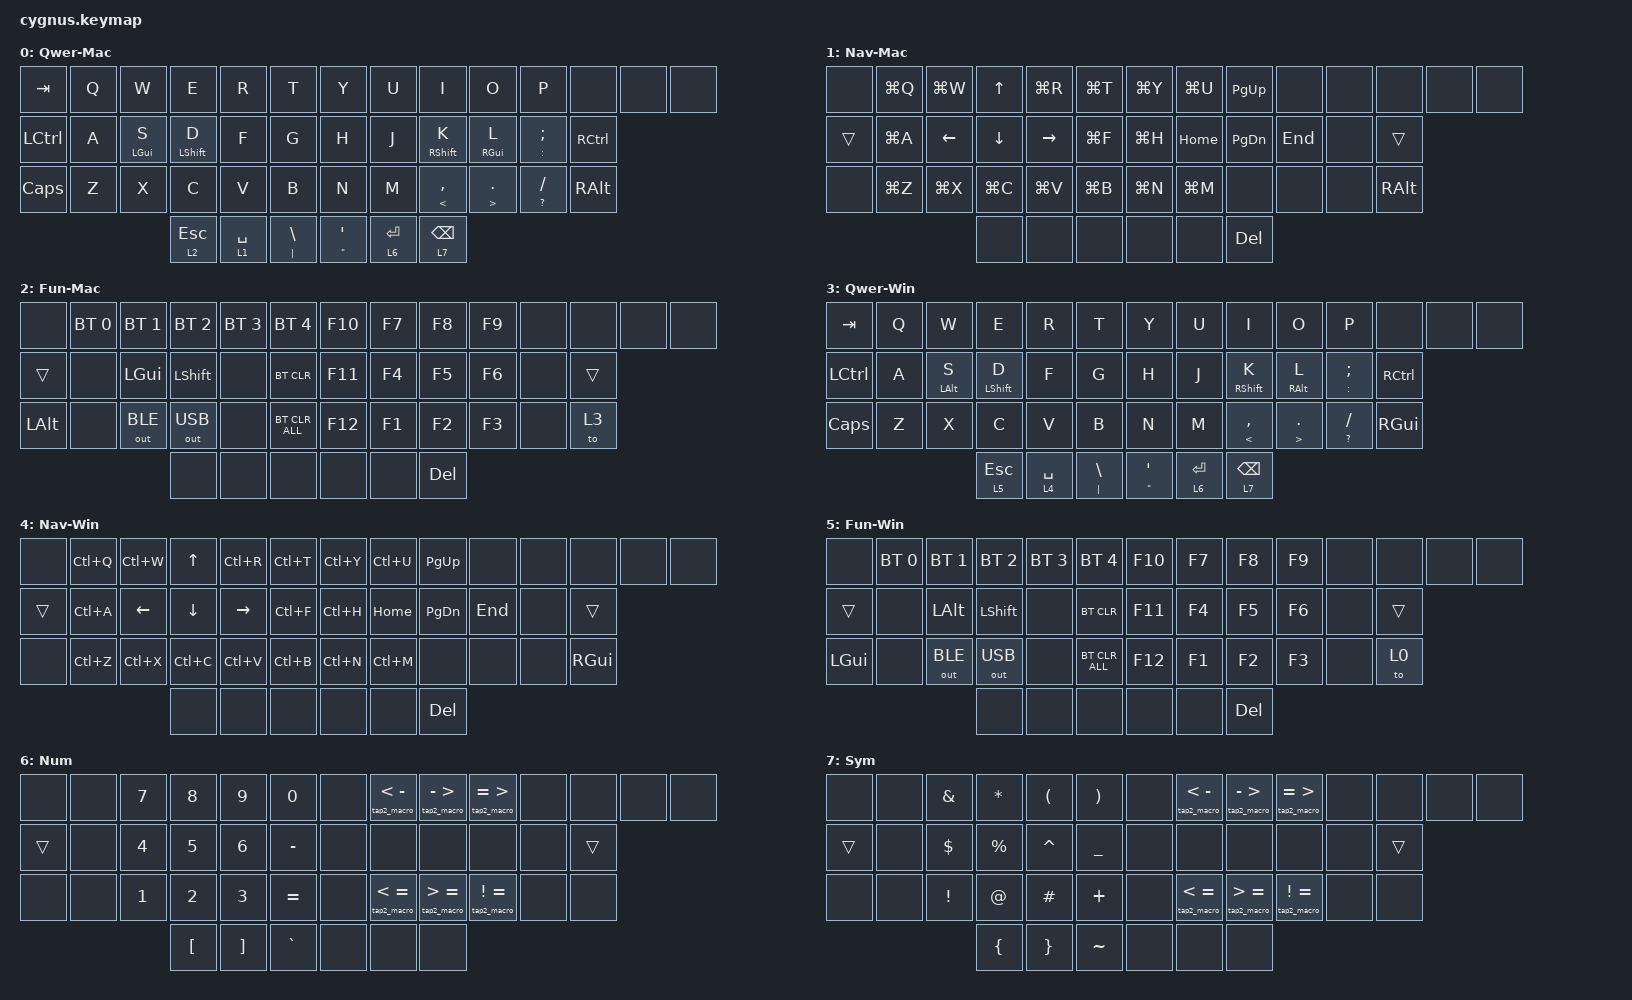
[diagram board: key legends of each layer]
/*
 * Copyright (c) 2020 The ZMK Contributors
 *
 * SPDX-License-Identifier: MIT
 */

#define ZMK_POINTING_DEFAULT_MOVE_VAL 1200  // 600
#define ZMK_POINTING_DEFAULT_SCRL_VAL 35    // 10

#include <input/processors.dtsi>
#include <zephyr/dt-bindings/input/input-event-codes.h>
#include <behaviors.dtsi>
#include <dt-bindings/zmk/bt.h>
#include <dt-bindings/zmk/keys.h>
#include <dt-bindings/zmk/outputs.h>

#define SCROLLER 1
#define MOUSE 4

/ {
    zip_scroll_scaler: zip_scroll_scaler {
        compatible = "zmk,input-processor-scaler";
        #input-processor-cells = <2>;
        type = <INPUT_EV_REL>;
        codes = <INPUT_REL_WHEEL INPUT_REL_HWHEEL>;
        track-remainders;
    };
};

&mmv_input_listener { input-processors = <&zip_xy_scaler 2 1>; };

&msc_input_listener { input-processors = <&zip_scroll_scaler 2 1>; };

&msc {
    acceleration-exponent = <0>;      // 0
    time-to-max-speed-ms = <100>;       // 300
    delay-ms = <0>;                   // 0
};

&mmv {
    time-to-max-speed-ms = <400>;
    acceleration-exponent = <1>;
};

/ {
    macros {
        dongle_bootload_macro: bootload_macro {
            compatible = "zmk,behavior-macro";
            #binding-cells = <0>;
            bindings = <&bootloader>;
            label = "BOOTLOAD_MACRO";
        };

        tap2_macro: tap2_macro {
            compatible = "zmk,behavior-macro-two-param";
            #binding-cells = <2>;
            bindings =
                <&macro_param_1to1>,
                <&macro_tap>,
                <&kp MACRO_PLACEHOLDER &macro_param_2to1>,
                <&macro_tap>,
                <&kp MACRO_PLACEHOLDER>;

            label = "TAP2_MACRO";
        };
    };

    combos {
        compatible = "zmk,combos";

        bootloader {
            bindings = <&dongle_bootload_macro>;
            key-positions = <40 41>;
            require-prior-idle-ms = <125>;
            timeout-ms = <50>;
        };
    };

    behaviors {
        as: auto_shift {
            compatible = "zmk,behavior-hold-tap";
            label = "AUTO_SHIFT";
            bindings = <&kp>, <&kp>;

            #binding-cells = <2>;
            tapping-term-ms = <250>;
            quick-tap-ms = <175>;
            flavor = "tap-preferred";
            require-prior-idle-ms = <150>;
        };

        hml: homerow_mods_left {
            compatible = "zmk,behavior-hold-tap";
            label = "HOMEROW_MODS_LEFT";
            bindings = <&kp>, <&kp>;

            #binding-cells = <2>;
            tapping-term-ms = <250>;
            quick-tap-ms = <175>;
            require-prior-idle-ms = <110>;
            flavor = "balanced";
            hold-trigger-key-positions = <21 22 23 24 20 25 11 10 9 8 7 6 32 33 35 34 36 37 41 42 43 40 39 38>;
            hold-trigger-on-release;
        };

        hmr: homerow_mods_right {
            compatible = "zmk,behavior-hold-tap";
            label = "HOMEROW_MODS_RIGHT";
            bindings = <&kp>, <&kp>;

            #binding-cells = <2>;
            tapping-term-ms = <250>;
            quick-tap-ms = <175>;
            require-prior-idle-ms = <110>;
            flavor = "balanced";
            hold-trigger-key-positions = <15 16 17 18 0 1 2 3 4 5 19 31 30 29 28 27 26 14 40 39 38 41 42 43>;
            hold-trigger-on-release;
        };

        mol: mo_left {
            compatible = "zmk,behavior-hold-tap";
            label = "MO_LEFT";
            bindings = <&mo>, <&kp>;

            #binding-cells = <2>;
            tapping-term-ms = <250>;
            quick-tap-ms = <175>;
            require-prior-idle-ms = <110>;
            flavor = "balanced";
            hold-trigger-on-release;
            hold-trigger-key-positions = <32 20 6 7 21 33 34 22 8 9 23 35 36 24 10 11 25 37 41 42 43>;
        };

        mor: mo_right {
            compatible = "zmk,behavior-hold-tap";
            label = "MO_RIGHT";
            bindings = <&mo>, <&kp>;

            #binding-cells = <2>;
            tapping-term-ms = <250>;
            quick-tap-ms = <175>;
            require-prior-idle-ms = <110>;
            flavor = "balanced";
            hold-trigger-on-release;
            hold-trigger-key-positions = <0 1 2 3 4 5 14 15 16 17 18 19 26 27 28 29 30 31 38 39 40>;
        };
    };

    keymap {
        compatible = "zmk,keymap";

        Qwer-Mac {
            bindings = <
&kp TAB           &kp Q  &kp W            &kp E              &kp R         &kp T               &kp Y                           &kp U          &kp I                &kp O                 &kp P               &none              &none  &none
&kp LEFT_CONTROL  &kp A  &hml LEFT_GUI S  &hml LEFT_SHIFT D  &kp F         &kp G               &kp H                           &kp J          &hmr RIGHT_SHIFT K   &hmr RIGHT_GUI L      &as COLON SEMI      &kp RIGHT_CONTROL
&kp CAPSLOCK      &kp Z  &kp X            &kp C              &kp V         &kp B               &kp N                           &kp M          &as LESS_THAN COMMA  &as GREATER_THAN DOT  &as QUESTION SLASH  &kp RIGHT_ALT
                                          &mol 2 ESC         &mor 1 SPACE  &as PIPE BACKSLASH  &as DOUBLE_QUOTES SINGLE_QUOTE  &mor 6 RETURN  &mor 7 BACKSPACE
            >;

            label = "Qwer-Mac";
        };

        Nav-Mac {
            bindings = <
&none   &kp LG(Q)  &kp LG(W)       &kp UP_ARROW    &kp LG(R)        &kp LG(T)  &kp LG(Y)  &kp LG(U)  &kp PAGE_UP    &none    &none  &none          &none  &none
&trans  &kp LG(A)  &kp LEFT_ARROW  &kp DOWN_ARROW  &kp RIGHT_ARROW  &kp LG(F)  &kp LG(H)  &kp HOME   &kp PAGE_DOWN  &kp END  &none  &trans
&none   &kp LG(Z)  &kp LG(X)       &kp LG(C)       &kp LG(V)        &kp LG(B)  &kp LG(N)  &kp LG(M)  &none          &none    &none  &kp RIGHT_ALT
                                   &none           &none            &none      &none      &none      &kp DELETE
            >;

            label = "Nav-Mac";
        };

        Fun-Mac {
            bindings = <
&none         &bt BT_SEL 0  &bt BT_SEL 1  &bt BT_SEL 2    &bt BT_SEL 3  &bt BT_SEL 4    &kp F10  &kp F7  &kp F8      &kp F9  &none  &none   &none  &none
&trans        &none         &kp LEFT_GUI  &kp LEFT_SHIFT  &none         &bt BT_CLR      &kp F11  &kp F4  &kp F5      &kp F6  &none  &trans
&kp LEFT_ALT  &none         &out OUT_BLE  &out OUT_USB    &none         &bt BT_CLR_ALL  &kp F12  &kp F1  &kp F2      &kp F3  &none  &to 3
                                          &none           &none         &none           &none    &none   &kp DELETE
            >;

            label = "Fun-Mac";
        };

        Qwer-Win {
            label = "Qwer-Win";
            bindings = <
&kp TAB           &kp Q  &kp W            &kp E              &kp R         &kp T               &kp Y                           &kp U          &kp I                &kp O                 &kp P               &none              &none  &none
&kp LEFT_CONTROL  &kp A  &hml LEFT_ALT S  &hml LEFT_SHIFT D  &kp F         &kp G               &kp H                           &kp J          &hmr RIGHT_SHIFT K   &hmr RIGHT_ALT L      &as COLON SEMI      &kp RIGHT_CONTROL
&kp CAPSLOCK      &kp Z  &kp X            &kp C              &kp V         &kp B               &kp N                           &kp M          &as LESS_THAN COMMA  &as GREATER_THAN DOT  &as QUESTION SLASH  &kp RIGHT_GUI
                                          &mol 5 ESC         &mor 4 SPACE  &as PIPE BACKSLASH  &as DOUBLE_QUOTES SINGLE_QUOTE  &mor 6 RETURN  &mor 7 BACKSPACE
            >;
        };

        Nav-Win {
            label = "Nav-Win";
            bindings = <
&none   &kp LC(Q)  &kp LC(W)       &kp UP_ARROW    &kp LC(R)        &kp LC(T)  &kp LC(Y)  &kp LC(U)  &kp PAGE_UP    &none    &none  &none          &none  &none
&trans  &kp LC(A)  &kp LEFT_ARROW  &kp DOWN_ARROW  &kp RIGHT_ARROW  &kp LC(F)  &kp LC(H)  &kp HOME   &kp PAGE_DOWN  &kp END  &none  &trans
&none   &kp LC(Z)  &kp LC(X)       &kp LC(C)       &kp LC(V)        &kp LC(B)  &kp LC(N)  &kp LC(M)  &none          &none    &none  &kp RIGHT_GUI
                                   &none           &none            &none      &none      &none      &kp DELETE
            >;
        };

        Fun-Win {
            label = "Fun-Win";
            bindings = <
&none         &bt BT_SEL 0  &bt BT_SEL 1  &bt BT_SEL 2    &bt BT_SEL 3  &bt BT_SEL 4    &kp F10  &kp F7  &kp F8      &kp F9  &none  &none   &none  &none
&trans        &none         &kp LEFT_ALT  &kp LEFT_SHIFT  &none         &bt BT_CLR      &kp F11  &kp F4  &kp F5      &kp F6  &none  &trans
&kp LEFT_GUI  &none         &out OUT_BLE  &out OUT_USB    &none         &bt BT_CLR_ALL  &kp F12  &kp F1  &kp F2      &kp F3  &none  &to 0
                                          &none           &none         &none           &none    &none   &kp DELETE
            >;
        };

        Num {
            bindings = <
&none   &none  &kp NUMBER_7  &kp NUMBER_8      &kp NUMBER_9       &kp NUMBER_0  &none  &tap2_macro LESS_THAN MINUS  &tap2_macro MINUS GREATER_THAN  &tap2_macro EQUAL GREATER_THAN  &none  &none   &none  &none
&trans  &none  &kp NUMBER_4  &kp NUMBER_5      &kp NUMBER_6       &kp MINUS     &none  &none                        &none                           &none                           &none  &trans
&none   &none  &kp NUMBER_1  &kp NUMBER_2      &kp NUMBER_3       &kp EQUAL     &none  &tap2_macro LESS_THAN EQUAL  &tap2_macro GREATER_THAN EQUAL  &tap2_macro EXCLAMATION EQUAL   &none  &none
                             &kp LEFT_BRACKET  &kp RIGHT_BRACKET  &kp GRAVE     &none  &none                        &none
            >;

            label = "Num";
        };

        Sym {
            bindings = <
&none   &none  &kp AMPERSAND    &kp ASTERISK    &kp LEFT_PARENTHESIS  &kp RIGHT_PARENTHESIS  &none  &tap2_macro LESS_THAN MINUS  &tap2_macro MINUS GREATER_THAN  &tap2_macro EQUAL GREATER_THAN  &none  &none   &none  &none
&trans  &none  &kp DOLLAR       &kp PERCENT     &kp CARET             &kp UNDERSCORE         &none  &none                        &none                           &none                           &none  &trans
&none   &none  &kp EXCLAMATION  &kp AT_SIGN     &kp HASH              &kp PLUS               &none  &tap2_macro LESS_THAN EQUAL  &tap2_macro GREATER_THAN EQUAL  &tap2_macro EXCLAMATION EQUAL   &none  &none
                                &kp LEFT_BRACE  &kp RIGHT_BRACE       &kp TILDE              &none  &none                        &none
            >;

            label = "Sym";
        };
    };

    conditional_layers { compatible = "zmk,conditional-layers"; };
};
